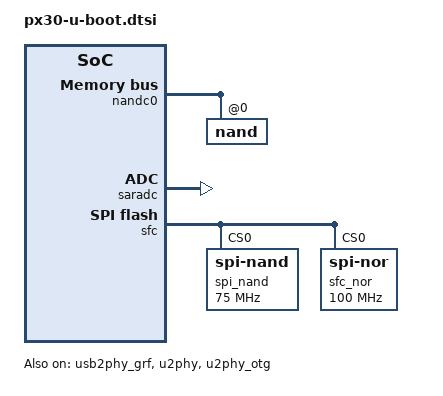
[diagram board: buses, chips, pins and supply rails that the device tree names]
/*
 * (C) Copyright 2017 Rockchip Electronics Co., Ltd
 *
 * SPDX-License-Identifier:     GPL-2.0+
 */

/ {
	aliases {
		mmc0 = &emmc;
		mmc1 = &sdmmc;
	};

	chosen {
		u-boot,spl-boot-order = &emmc, &sdmmc;
		stdout-path = &uart2;
	};

	secure-otp@ff110000 {
		compatible = "rockchip,px30-secure-otp";
		reg = <0x0 0xff110000 0x0 0x4000>;
		secure_conf = <0xff11C008>;
		mask_addr = <0xff2d0000>;
	};
};

&psci {
	u-boot,dm-pre-reloc;
};

&dmc {
	u-boot,dm-pre-reloc;
};

&uart5 {
	clock-frequency = <24000000>;
	u-boot,dm-pre-reloc;
};

&uart2 {
	clock-frequency = <24000000>;
	u-boot,dm-pre-reloc;
};

&nandc0 {
	u-boot,dm-pre-reloc;
	status = "okay";
};

&sdmmc {
	u-boot,dm-spl;
};

&emmc {
	u-boot,dm-spl;
};

&pmugrf {
	u-boot,dm-spl;
};

&cru {
	u-boot,dm-spl;
};

&crypto {
	u-boot,dm-spl;
};

&pmucru {
	u-boot,dm-spl;
};

&saradc {
	u-boot,dm-spl;
	status = "okay";
};

&gpio0 {
	u-boot,dm-pre-reloc;
	status = "disabled";
};

&gpio1 {
	u-boot,dm-pre-reloc;
	status = "disabled";
};

&gpio2 {
	u-boot,dm-pre-reloc;
	status = "disabled";
};

&gpio3 {
	u-boot,dm-pre-reloc;
	status = "disabled";
};

&usb20_otg {
	u-boot,dm-pre-reloc;
};

&usb2phy_grf {
	u-boot,dm-pre-reloc;
	status = "okay";
};

&u2phy {
	u-boot,dm-pre-reloc;
	status = "okay";
};

&u2phy_otg {
	u-boot,dm-pre-reloc;
	status = "okay";
};

&sfc {
	u-boot,dm-spl;
	/delete-property/ pinctrl-names;
	/delete-property/ pinctrl-0;
	/delete-property/ assigned-clocks;
	/delete-property/ assigned-clock-rates;
	status = "okay";

	#address-cells = <1>;
	#size-cells = <0>;
	spi_nand: flash@0 {
		u-boot,dm-spl;
		compatible = "spi-nand";
		reg = <0>;
		spi-tx-bus-width = <1>;
		spi-rx-bus-width = <4>;
		spi-max-frequency = <75000000>;
	};

	spi_nor: flash@1 {
		u-boot,dm-spl;
		compatible = "jedec,spi-nor";
		label = "sfc_nor";
		reg = <0>;
		spi-tx-bus-width = <1>;
		spi-rx-bus-width = <4>;
		spi-max-frequency = <100000000>;
	};
};

&nandc0 {
	u-boot,dm-pre-reloc;
	status = "okay";
	#address-cells = <1>;
	#size-cells = <0>;

	nand@0 {
		u-boot,dm-pre-reloc;
		reg = <0>;
		nand-ecc-mode = "hw_syndrome";
		nand-ecc-strength = <16>;
		nand-ecc-step-size = <1024>;
	};
};
